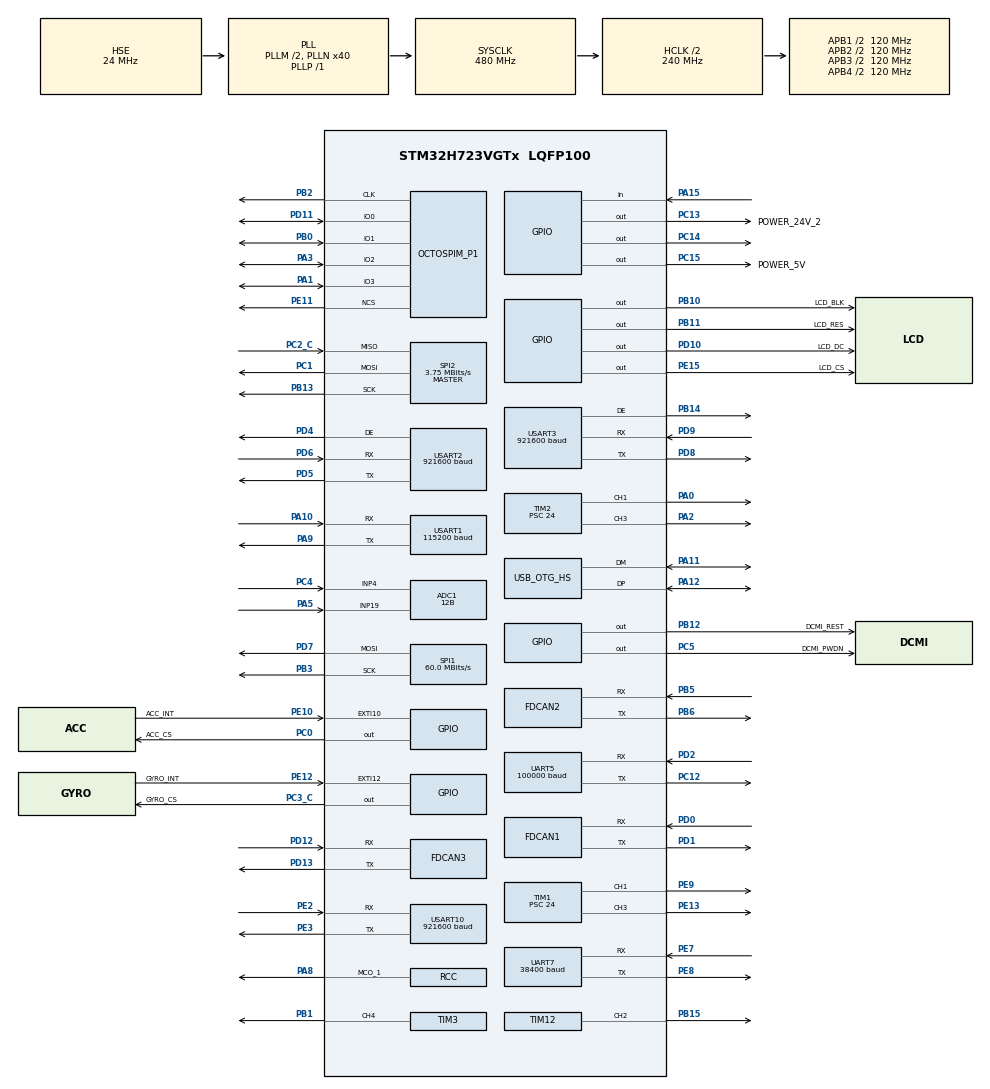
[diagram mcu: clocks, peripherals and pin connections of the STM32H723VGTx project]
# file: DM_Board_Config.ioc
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ADC1.Channel-2\#ChannelRegularConversion=ADC_CHANNEL_4
ADC1.Channel-3\#ChannelRegularConversion=ADC_CHANNEL_19
ADC1.ClockPrescaler=ADC_CLOCK_ASYNC_DIV16
ADC1.ContinuousConvMode=ENABLE
ADC1.ConversionDataManagement=ADC_CONVERSIONDATA_DMA_CIRCULAR
ADC1.NbrOfConversion=2
ADC1.NbrOfConversionFlag=1
ADC1.OffsetNumber-2\#ChannelRegularConversion=ADC_OFFSET_NONE
ADC1.OffsetNumber-3\#ChannelRegularConversion=ADC_OFFSET_NONE
ADC1.OffsetSignedSaturation-2\#ChannelRegularConversion=DISABLE
ADC1.Rank-2\#ChannelRegularConversion=1
ADC1.Rank-3\#ChannelRegularConversion=2
ADC1.Resolution=ADC_RESOLUTION_12B
ADC1.SamplingTime-2\#ChannelRegularConversion=ADC_SAMPLETIME_32CYCLES_5
ADC1.SamplingTime-3\#ChannelRegularConversion=ADC_SAMPLETIME_32CYCLES_5
ADC1.master=1
ADC3.Channel-0\#ChannelRegularConversion=ADC_CHANNEL_TEMPSENSOR
ADC3.ClockPrescaler=ADC_CLOCK_ASYNC_DIV16
ADC3.NbrOfConversionFlag=1
ADC3.OffsetNumber-0\#ChannelRegularConversion=ADC_OFFSET_NONE
ADC3.OffsetSign-0\#ChannelRegularConversion=ADC3_OFFSET_SIGN_NEGATIVE
ADC3.Rank-0\#ChannelRegularConversion=1
ADC3.SamplingTime-0\#ChannelRegularConversion=ADC3_SAMPLETIME_2CYCLES_5
CORTEX_M7.BaseAddress-Cortex_Memory_Protection_Unit_Region0_Settings=0x24000000
CORTEX_M7.CPU_DCache=Enabled
CORTEX_M7.CPU_ICache=Enabled
CORTEX_M7.Enable-Cortex_Memory_Protection_Unit_Region0_Settings=MPU_REGION_ENABLE
CORTEX_M7.IsBufferable-Cortex_Memory_Protection_Unit_Region0_Settings=MPU_ACCESS_BUFFERABLE
CORTEX_M7.IsCacheable-Cortex_Memory_Protection_Unit_Region0_Settings=MPU_ACCESS_CACHEABLE
CORTEX_M7.MPU_Control=__NULL
CORTEX_M7.Size-Cortex_Memory_Protection_Unit_Region0_Settings=MPU_REGION_SIZE_512B
CORTEX_M7.TypeExtField-Cortex_Memory_Protection_Unit_Region0_Settings=MPU_TEX_LEVEL1
Dma.ADC1.4.Direction=DMA_PERIPH_TO_MEMORY
Dma.ADC1.4.EventEnable=DISABLE
Dma.ADC1.4.FIFOMode=DMA_FIFOMODE_DISABLE
Dma.ADC1.4.Instance=DMA1_Stream3
Dma.ADC1.4.MemDataAlignment=DMA_MDATAALIGN_HALFWORD
Dma.ADC1.4.MemInc=DMA_MINC_ENABLE
Dma.ADC1.4.Mode=DMA_CIRCULAR
Dma.ADC1.4.PeriphDataAlignment=DMA_PDATAALIGN_HALFWORD
Dma.ADC1.4.PeriphInc=DMA_PINC_DISABLE
Dma.ADC1.4.Polarity=HAL_DMAMUX_REQ_GEN_RISING
Dma.ADC1.4.Priority=DMA_PRIORITY_LOW
Dma.ADC1.4.RequestNumber=1
Dma.ADC1.4.SignalID=NONE
Dma.ADC1.4.SyncEnable=DISABLE
Dma.ADC1.4.SyncPolarity=HAL_DMAMUX_SYNC_NO_EVENT
Dma.ADC1.4.SyncRequestNumber=1
Dma.ADC1.4.SyncSignalID=NONE
Dma.Request0=USART1_RX
Dma.Request1=USART1_TX
Dma.Request10=USART10_TX
Dma.Request2=UART5_RX
Dma.Request3=SPI1_TX
Dma.Request4=ADC1
Dma.Request5=USART3_RX
Dma.Request6=USART3_TX
Dma.Request7=UART7_RX
Dma.Request8=UART7_TX
Dma.Request9=USART10_RX
Dma.SPI1_TX.3.Direction=DMA_MEMORY_TO_PERIPH
Dma.SPI1_TX.3.EventEnable=DISABLE
Dma.SPI1_TX.3.FIFOMode=DMA_FIFOMODE_DISABLE
Dma.SPI1_TX.3.Instance=DMA2_Stream1
Dma.SPI1_TX.3.MemDataAlignment=DMA_MDATAALIGN_BYTE
Dma.SPI1_TX.3.MemInc=DMA_MINC_ENABLE
Dma.SPI1_TX.3.Mode=DMA_NORMAL
Dma.SPI1_TX.3.PeriphDataAlignment=DMA_PDATAALIGN_BYTE
Dma.SPI1_TX.3.PeriphInc=DMA_PINC_DISABLE
Dma.SPI1_TX.3.Polarity=HAL_DMAMUX_REQ_GEN_RISING
Dma.SPI1_TX.3.Priority=DMA_PRIORITY_LOW
Dma.SPI1_TX.3.RequestNumber=1
Dma.SPI1_TX.3.SignalID=NONE
Dma.SPI1_TX.3.SyncEnable=DISABLE
Dma.SPI1_TX.3.SyncPolarity=HAL_DMAMUX_SYNC_NO_EVENT
Dma.SPI1_TX.3.SyncRequestNumber=1
Dma.SPI1_TX.3.SyncSignalID=NONE
Dma.UART5_RX.2.Direction=DMA_PERIPH_TO_MEMORY
Dma.UART5_RX.2.EventEnable=DISABLE
Dma.UART5_RX.2.FIFOMode=DMA_FIFOMODE_DISABLE
Dma.UART5_RX.2.Instance=DMA1_Stream0
Dma.UART5_RX.2.MemDataAlignment=DMA_MDATAALIGN_BYTE
Dma.UART5_RX.2.MemInc=DMA_MINC_ENABLE
Dma.UART5_RX.2.Mode=DMA_CIRCULAR
Dma.UART5_RX.2.PeriphDataAlignment=DMA_PDATAALIGN_BYTE
Dma.UART5_RX.2.PeriphInc=DMA_PINC_DISABLE
Dma.UART5_RX.2.Polarity=HAL_DMAMUX_REQ_GEN_RISING
Dma.UART5_RX.2.Priority=DMA_PRIORITY_LOW
Dma.UART5_RX.2.RequestNumber=1
Dma.UART5_RX.2.SignalID=NONE
Dma.UART5_RX.2.SyncEnable=DISABLE
Dma.UART5_RX.2.SyncPolarity=HAL_DMAMUX_SYNC_NO_EVENT
Dma.UART5_RX.2.SyncRequestNumber=1
Dma.UART5_RX.2.SyncSignalID=NONE
Dma.UART7_RX.7.Direction=DMA_PERIPH_TO_MEMORY
Dma.UART7_RX.7.EventEnable=DISABLE
Dma.UART7_RX.7.FIFOMode=DMA_FIFOMODE_DISABLE
Dma.UART7_RX.7.Instance=DMA1_Stream6
Dma.UART7_RX.7.MemDataAlignment=DMA_MDATAALIGN_BYTE
Dma.UART7_RX.7.MemInc=DMA_MINC_ENABLE
Dma.UART7_RX.7.Mode=DMA_NORMAL
Dma.UART7_RX.7.PeriphDataAlignment=DMA_PDATAALIGN_BYTE
Dma.UART7_RX.7.PeriphInc=DMA_PINC_DISABLE
Dma.UART7_RX.7.Polarity=HAL_DMAMUX_REQ_GEN_RISING
Dma.UART7_RX.7.Priority=DMA_PRIORITY_LOW
Dma.UART7_RX.7.RequestNumber=1
Dma.UART7_RX.7.SignalID=NONE
Dma.UART7_RX.7.SyncEnable=DISABLE
Dma.UART7_RX.7.SyncPolarity=HAL_DMAMUX_SYNC_NO_EVENT
Dma.UART7_RX.7.SyncRequestNumber=1
Dma.UART7_RX.7.SyncSignalID=NONE
Dma.UART7_TX.8.Direction=DMA_MEMORY_TO_PERIPH
Dma.UART7_TX.8.EventEnable=DISABLE
Dma.UART7_TX.8.FIFOMode=DMA_FIFOMODE_DISABLE
Dma.UART7_TX.8.Instance=DMA1_Stream7
Dma.UART7_TX.8.MemDataAlignment=DMA_MDATAALIGN_BYTE
Dma.UART7_TX.8.MemInc=DMA_MINC_ENABLE
Dma.UART7_TX.8.Mode=DMA_NORMAL
Dma.UART7_TX.8.PeriphDataAlignment=DMA_PDATAALIGN_BYTE
Dma.UART7_TX.8.PeriphInc=DMA_PINC_DISABLE
Dma.UART7_TX.8.Polarity=HAL_DMAMUX_REQ_GEN_RISING
Dma.UART7_TX.8.Priority=DMA_PRIORITY_LOW
Dma.UART7_TX.8.RequestNumber=1
Dma.UART7_TX.8.SignalID=NONE
Dma.UART7_TX.8.SyncEnable=DISABLE
Dma.UART7_TX.8.SyncPolarity=HAL_DMAMUX_SYNC_NO_EVENT
Dma.UART7_TX.8.SyncRequestNumber=1
Dma.UART7_TX.8.SyncSignalID=NONE
Dma.USART10_RX.9.Direction=DMA_PERIPH_TO_MEMORY
Dma.USART10_RX.9.EventEnable=DISABLE
Dma.USART10_RX.9.FIFOMode=DMA_FIFOMODE_DISABLE
Dma.USART10_RX.9.Instance=DMA2_Stream0
Dma.USART10_RX.9.MemDataAlignment=DMA_MDATAALIGN_BYTE
Dma.USART10_RX.9.MemInc=DMA_MINC_ENABLE
Dma.USART10_RX.9.Mode=DMA_NORMAL
Dma.USART10_RX.9.PeriphDataAlignment=DMA_PDATAALIGN_BYTE
Dma.USART10_RX.9.PeriphInc=DMA_PINC_DISABLE
Dma.USART10_RX.9.Polarity=HAL_DMAMUX_REQ_GEN_RISING
Dma.USART10_RX.9.Priority=DMA_PRIORITY_LOW
Dma.USART10_RX.9.RequestNumber=1
Dma.USART10_RX.9.SignalID=NONE
Dma.USART10_RX.9.SyncEnable=DISABLE
Dma.USART10_RX.9.SyncPolarity=HAL_DMAMUX_SYNC_NO_EVENT
Dma.USART10_RX.9.SyncRequestNumber=1
Dma.USART10_RX.9.SyncSignalID=NONE
Dma.USART10_TX.10.Direction=DMA_MEMORY_TO_PERIPH
Dma.USART10_TX.10.EventEnable=DISABLE
Dma.USART10_TX.10.FIFOMode=DMA_FIFOMODE_DISABLE
Dma.USART10_TX.10.Instance=DMA2_Stream2
Dma.USART10_TX.10.MemDataAlignment=DMA_MDATAALIGN_BYTE
Dma.USART10_TX.10.MemInc=DMA_MINC_ENABLE
Dma.USART10_TX.10.Mode=DMA_NORMAL
Dma.USART10_TX.10.PeriphDataAlignment=DMA_PDATAALIGN_BYTE
Dma.USART10_TX.10.PeriphInc=DMA_PINC_DISABLE
Dma.USART10_TX.10.Polarity=HAL_DMAMUX_REQ_GEN_RISING
Dma.USART10_TX.10.Priority=DMA_PRIORITY_LOW
Dma.USART10_TX.10.RequestNumber=1
Dma.USART10_TX.10.SignalID=NONE
Dma.USART10_TX.10.SyncEnable=DISABLE
Dma.USART10_TX.10.SyncPolarity=HAL_DMAMUX_SYNC_NO_EVENT
Dma.USART10_TX.10.SyncRequestNumber=1
Dma.USART10_TX.10.SyncSignalID=NONE
Dma.USART1_RX.0.Direction=DMA_PERIPH_TO_MEMORY
Dma.USART1_RX.0.EventEnable=DISABLE
Dma.USART1_RX.0.FIFOMode=DMA_FIFOMODE_DISABLE
Dma.USART1_RX.0.Instance=DMA1_Stream1
Dma.USART1_RX.0.MemDataAlignment=DMA_MDATAALIGN_BYTE
Dma.USART1_RX.0.MemInc=DMA_MINC_ENABLE
Dma.USART1_RX.0.Mode=DMA_NORMAL
Dma.USART1_RX.0.PeriphDataAlignment=DMA_PDATAALIGN_BYTE
Dma.USART1_RX.0.PeriphInc=DMA_PINC_DISABLE
Dma.USART1_RX.0.Polarity=HAL_DMAMUX_REQ_GEN_RISING
Dma.USART1_RX.0.Priority=DMA_PRIORITY_LOW
Dma.USART1_RX.0.RequestNumber=1
Dma.USART1_RX.0.SignalID=NONE
Dma.USART1_RX.0.SyncEnable=DISABLE
Dma.USART1_RX.0.SyncPolarity=HAL_DMAMUX_SYNC_NO_EVENT
Dma.USART1_RX.0.SyncRequestNumber=1
Dma.USART1_RX.0.SyncSignalID=NONE
Dma.USART1_TX.1.Direction=DMA_MEMORY_TO_PERIPH
Dma.USART1_TX.1.EventEnable=DISABLE
Dma.USART1_TX.1.FIFOMode=DMA_FIFOMODE_DISABLE
Dma.USART1_TX.1.Instance=DMA1_Stream2
Dma.USART1_TX.1.MemDataAlignment=DMA_MDATAALIGN_BYTE
Dma.USART1_TX.1.MemInc=DMA_MINC_ENABLE
Dma.USART1_TX.1.Mode=DMA_NORMAL
Dma.USART1_TX.1.PeriphDataAlignment=DMA_PDATAALIGN_BYTE
Dma.USART1_TX.1.PeriphInc=DMA_PINC_DISABLE
Dma.USART1_TX.1.Polarity=HAL_DMAMUX_REQ_GEN_RISING
Dma.USART1_TX.1.Priority=DMA_PRIORITY_LOW
Dma.USART1_TX.1.RequestNumber=1
Dma.USART1_TX.1.SignalID=NONE
Dma.USART1_TX.1.SyncEnable=DISABLE
Dma.USART1_TX.1.SyncPolarity=HAL_DMAMUX_SYNC_NO_EVENT
Dma.USART1_TX.1.SyncRequestNumber=1
Dma.USART1_TX.1.SyncSignalID=NONE
Dma.USART3_RX.5.Direction=DMA_PERIPH_TO_MEMORY
Dma.USART3_RX.5.EventEnable=DISABLE
Dma.USART3_RX.5.FIFOMode=DMA_FIFOMODE_DISABLE
Dma.USART3_RX.5.Instance=DMA1_Stream4
Dma.USART3_RX.5.MemDataAlignment=DMA_MDATAALIGN_BYTE
Dma.USART3_RX.5.MemInc=DMA_MINC_ENABLE
Dma.USART3_RX.5.Mode=DMA_NORMAL
Dma.USART3_RX.5.PeriphDataAlignment=DMA_PDATAALIGN_BYTE
Dma.USART3_RX.5.PeriphInc=DMA_PINC_DISABLE
Dma.USART3_RX.5.Polarity=HAL_DMAMUX_REQ_GEN_RISING
Dma.USART3_RX.5.Priority=DMA_PRIORITY_LOW
Dma.USART3_RX.5.RequestNumber=1
Dma.USART3_RX.5.SignalID=NONE
Dma.USART3_RX.5.SyncEnable=DISABLE
Dma.USART3_RX.5.SyncPolarity=HAL_DMAMUX_SYNC_NO_EVENT
Dma.USART3_RX.5.SyncRequestNumber=1
Dma.USART3_RX.5.SyncSignalID=NONE
Dma.USART3_TX.6.Direction=DMA_MEMORY_TO_PERIPH
Dma.USART3_TX.6.EventEnable=DISABLE
Dma.USART3_TX.6.FIFOMode=DMA_FIFOMODE_DISABLE
Dma.USART3_TX.6.Instance=DMA1_Stream5
Dma.USART3_TX.6.MemDataAlignment=DMA_MDATAALIGN_BYTE
Dma.USART3_TX.6.MemInc=DMA_MINC_ENABLE
Dma.USART3_TX.6.Mode=DMA_NORMAL
Dma.USART3_TX.6.PeriphDataAlignment=DMA_PDATAALIGN_BYTE
Dma.USART3_TX.6.PeriphInc=DMA_PINC_DISABLE
Dma.USART3_TX.6.Polarity=HAL_DMAMUX_REQ_GEN_RISING
Dma.USART3_TX.6.Priority=DMA_PRIORITY_LOW
Dma.USART3_TX.6.RequestNumber=1
Dma.USART3_TX.6.SignalID=NONE
Dma.USART3_TX.6.SyncEnable=DISABLE
Dma.USART3_TX.6.SyncPolarity=HAL_DMAMUX_SYNC_NO_EVENT
Dma.USART3_TX.6.SyncRequestNumber=1
Dma.USART3_TX.6.SyncSignalID=NONE
FDCAN1.CalculateBaudRateNominal=1000000
FDCAN1.CalculateTimeBitNominal=1000
FDCAN1.CalculateTimeQuantumNominal=200.0
FDCAN1.NominalPrescaler=24
FDCAN1.NominalTimeSeg1=2
FDCAN1.RxFifo0ElmtsNbr=32
FDCAN1.StdFiltersNbr=1
FDCAN1.TxFifoQueueElmtsNbr=32
FDCAN2.CalculateBaudRateNominal=1499999
FDCAN2.CalculateTimeBitNominal=666
FDCAN2.CalculateTimeQuantumNominal=133.33333333333334
FDCAN3.CalculateBaudRateNominal=1000000
FDCAN3.CalculateTimeBitNominal=1000
FDCAN3.CalculateTimeQuantumNominal=200.0
FDCAN3.MessageRAMOffset=0x812
FDCAN3.NominalPrescaler=24
FDCAN3.RxFifo0ElmtsNbr=32
FDCAN3.StdFiltersNbr=1
FDCAN3.TxFifoQueueElmtsNbr=32
FREERTOS.INCLUDE_eTaskGetState=1
FREERTOS.INCLUDE_uxTaskGetStackHighWaterMark=1
FREERTOS.INCLUDE_vTaskDelayUntil=1
FREERTOS.INCLUDE_xQueueGetMutexHolder=1
FREERTOS.INCLUDE_xTaskGetCurrentTaskHandle=1
FREERTOS.INCLUDE_xTimerPendFunctionCall=1
FREERTOS.Tasks01=defaultTask,-3,128,StartDefaultTask,Default,NULL,Dynamic,NULL,NULL;KeyTask,3,128,Key_Task,As weak,NULL,Static,KeyTaskBuffer,KeyTaskControlBlock;LcdTask,0,256,LCD_Task,As weak,NULL,Static,LcdTaskBuffer,LcdTaskControlBlock;ImuTask,2,1024,ImuTask_Entry,As weak,NULL,Static,ImuTaskBuffer,ImuTaskControlBlock;BuzzerTask,-1,128,Buzzer_Task,As weak,NULL,Static,BuzzerTaskBuffer,BuzzerTaskControlBlock;MenuTask,0,512,Menu_Task,As weak,NULL,Static,MenuTaskBuffer,MenuTaskControlBlock
FREERTOS.configENABLE_FPU=1
FREERTOS.configUSE_COUNTING_SEMAPHORES=1
FREERTOS.configUSE_RECURSIVE_MUTEXES=1
FREERTOS.configUSE_TIMERS=1
FREERTOS.configUSE_TRACE_FACILITY=1
Mcu.Family=STM32H7
Mcu.Name=STM32H723VGTx
Mcu.Package=LQFP100
NVIC.DMA1_Stream0_IRQn=true\:5\:0\:false\:false\:true\:false\:false\:true\:true
NVIC.DMA1_Stream1_IRQn=true\:5\:0\:false\:false\:true\:true\:false\:true\:true
NVIC.DMA1_Stream2_IRQn=true\:5\:0\:false\:false\:true\:true\:false\:true\:true
NVIC.DMA1_Stream3_IRQn=true\:5\:0\:false\:false\:true\:true\:false\:true\:true
NVIC.DMA1_Stream4_IRQn=true\:5\:0\:false\:false\:true\:true\:false\:true\:true
NVIC.DMA1_Stream5_IRQn=true\:5\:0\:false\:false\:true\:true\:false\:true\:true
NVIC.DMA1_Stream6_IRQn=true\:5\:0\:false\:false\:true\:true\:false\:true\:true
NVIC.DMA1_Stream7_IRQn=true\:5\:0\:false\:false\:true\:true\:false\:true\:true
NVIC.DMA2_Stream0_IRQn=true\:5\:0\:false\:false\:true\:true\:false\:true\:true
NVIC.DMA2_Stream1_IRQn=true\:5\:0\:false\:false\:true\:false\:false\:true\:true
NVIC.DMA2_Stream2_IRQn=true\:5\:0\:false\:false\:true\:true\:false\:true\:true
NVIC.FDCAN1_IT0_IRQn=true\:5\:0\:false\:false\:true\:true\:true\:true\:true
NVIC.FDCAN1_IT1_IRQn=true\:5\:0\:false\:false\:true\:true\:true\:true\:true
NVIC.FDCAN3_IT0_IRQn=true\:5\:0\:false\:false\:true\:true\:true\:true\:true
NVIC.FDCAN3_IT1_IRQn=true\:5\:0\:false\:false\:true\:true\:true\:true\:true
NVIC.OTG_HS_IRQn=true\:5\:0\:false\:false\:true\:true\:false\:true\:true
NVIC.PriorityGroup=NVIC_PRIORITYGROUP_4
NVIC.SPI1_IRQn=true\:5\:0\:false\:false\:true\:true\:false\:true\:true
NVIC.TIM23_IRQn=true\:15\:0\:false\:false\:true\:false\:false\:true\:true
NVIC.TimeBase=TIM23_IRQn
NVIC.TimeBaseIP=TIM23
NVIC.UART5_IRQn=true\:5\:0\:false\:false\:true\:true\:true\:true\:true
NVIC.UART7_IRQn=true\:5\:0\:true\:false\:true\:false\:true\:true\:true
NVIC.USART10_IRQn=true\:5\:0\:true\:false\:true\:false\:true\:true\:true
NVIC.USART1_IRQn=true\:5\:0\:true\:false\:true\:false\:true\:true\:true
NVIC.USART2_IRQn=true\:5\:0\:true\:false\:true\:false\:true\:true\:true
NVIC.USART3_IRQn=true\:5\:0\:true\:false\:true\:false\:true\:true\:true
OCTOSPI2.ClockMode=HAL_OSPI_CLOCK_MODE_3
OCTOSPI2.ClockPrescaler=3
OCTOSPI2.DeviceSize=23
OCTOSPI2.DeviceType=SPI_DEVICE_FLASH
OCTOSPI2.FifoThreshold=8
OCTOSPI2.SampleShifting=HAL_OSPI_SAMPLE_SHIFTING_HALFCYCLE
PA0.Signal=S_TIM2_CH1_ETR
PA1.Mode=OCTOSPI2_IOL_Port1L
PA1.Signal=OCTOSPIM_P1_IO3
PA10.Mode=Asynchronous
PA10.Signal=USART1_RX
PA11.Mode=Device_Only_FS
PA11.Signal=USB_OTG_HS_DM
PA12.Mode=Device_Only_FS
PA12.Signal=USB_OTG_HS_DP
PA13(JTMS/SWDIO).Mode=Serial_Wire
PA13(JTMS/SWDIO).Signal=DEBUG_JTMS-SWDIO
PA14(JTCK/SWCLK).Mode=Serial_Wire
PA14(JTCK/SWCLK).Signal=DEBUG_JTCK-SWCLK
PA15(JTDI).Signal=GPIO_Input
PA2.Signal=S_TIM2_CH3
PA3.Mode=OCTOSPI2_IOL_Port1L
PA3.Signal=OCTOSPIM_P1_IO2
PA5.Signal=ADCx_INP19
PA8.Mode=Clock-out-1
PA8.Signal=RCC_MCO_1
PA9.Mode=Asynchronous
PA9.Signal=USART1_TX
PB0.Mode=OCTOSPI2_IOL_Port1L
PB0.Signal=OCTOSPIM_P1_IO1
PB1.Signal=S_TIM3_CH4
PB10.GPIO_Label=LCD_BLK
PB10.GPIO_Speed=GPIO_SPEED_FREQ_VERY_HIGH
PB10.Signal=GPIO_Output
PB11.GPIO_Label=LCD_RES
PB11.GPIO_Speed=GPIO_SPEED_FREQ_VERY_HIGH
PB11.Signal=GPIO_Output
PB12.GPIO_Label=DCMI_REST
PB12.GPIO_PuPd=GPIO_PULLUP
PB12.GPIO_Speed=GPIO_SPEED_FREQ_VERY_HIGH
PB12.PinState=GPIO_PIN_SET
PB12.Signal=GPIO_Output
PB13.GPIO_Speed=GPIO_SPEED_FREQ_VERY_HIGH
PB13.Mode=Full_Duplex_Master
PB13.Signal=SPI2_SCK
PB14.Mode=Hardware Flow Control (RS485)
PB14.Signal=USART3_DE
PB15.Signal=S_TIM12_CH2
PB2.Mode=O2_P1_CLK
PB2.Signal=OCTOSPIM_P1_CLK
PB3(JTDO/TRACESWO).GPIO_Speed=GPIO_SPEED_FREQ_VERY_HIGH
PB3(JTDO/TRACESWO).Mode=TX_Only_Simplex_Unidirect_Master
PB3(JTDO/TRACESWO).Signal=SPI1_SCK
PB5.Mode=FDCAN_Activate
PB5.Signal=FDCAN2_RX
PB6.Mode=FDCAN_Activate
PB6.Signal=FDCAN2_TX
PC0.GPIO_Label=ACC_CS
PC0.GPIO_Speed=GPIO_SPEED_FREQ_VERY_HIGH
PC0.PinState=GPIO_PIN_SET
PC0.Signal=GPIO_Output
PC1.GPIO_Speed=GPIO_SPEED_FREQ_VERY_HIGH
PC1.Mode=Full_Duplex_Master
PC1.Signal=SPI2_MOSI
PC12.GPIO_Speed=GPIO_SPEED_FREQ_LOW
PC12.Mode=Asynchronous
PC12.Signal=UART5_TX
PC13.GPIO_Label=POWER_24V_2
PC13.PinState=GPIO_PIN_SET
PC13.Signal=GPIO_Output
PC14-OSC32_IN.Signal=GPIO_Output
PC15-OSC32_OUT.GPIO_Label=POWER_5V
PC15-OSC32_OUT.PinState=GPIO_PIN_SET
PC15-OSC32_OUT.Signal=GPIO_Output
PC2_C.GPIO_Speed=GPIO_SPEED_FREQ_VERY_HIGH
PC2_C.Mode=Full_Duplex_Master
PC2_C.Signal=SPI2_MISO
PC3_C.GPIO_Label=GYRO_CS
PC3_C.GPIO_Speed=GPIO_SPEED_FREQ_VERY_HIGH
PC3_C.PinState=GPIO_PIN_SET
PC3_C.Signal=GPIO_Output
PC4.Signal=ADCx_INP4
PC5.GPIO_Label=DCMI_PWDN
PC5.GPIO_PuPd=GPIO_NOPULL
PC5.GPIO_Speed=GPIO_SPEED_FREQ_VERY_HIGH
PC5.PinState=GPIO_PIN_SET
PC5.Signal=GPIO_Output
PD0.Mode=FDCAN_Activate
PD0.Signal=FDCAN1_RX
PD1.Mode=FDCAN_Activate
PD1.Signal=FDCAN1_TX
PD10.GPIO_Label=LCD_DC
PD10.GPIO_Speed=GPIO_SPEED_FREQ_VERY_HIGH
PD10.Signal=GPIO_Output
PD11.Mode=OCTOSPI2_IOL_Port1L
PD11.Signal=OCTOSPIM_P1_IO0
PD12.Mode=FDCAN_Activate
PD12.Signal=FDCAN3_RX
PD13.Mode=FDCAN_Activate
PD13.Signal=FDCAN3_TX
PD2.GPIO_Speed=GPIO_SPEED_FREQ_LOW
PD2.Mode=Asynchronous
PD2.Signal=UART5_RX
PD4.Mode=Hardware Flow Control (RS485)
PD4.Signal=USART2_DE
PD5.Mode=Asynchronous
PD5.Signal=USART2_TX
PD6.Mode=Asynchronous
PD6.Signal=USART2_RX
PD7.GPIO_Speed=GPIO_SPEED_FREQ_VERY_HIGH
PD7.Mode=TX_Only_Simplex_Unidirect_Master
PD7.Signal=SPI1_MOSI
PD8.Mode=Asynchronous
PD8.Signal=USART3_TX
PD9.Mode=Asynchronous
PD9.Signal=USART3_RX
PE10.GPIO_Label=ACC_INT
PE10.Signal=GPXTI10
PE11.Mode=OCTOSPI2_Port1_NCS
PE11.Signal=OCTOSPIM_P1_NCS
PE12.GPIO_Label=GYRO_INT
PE12.Signal=GPXTI12
PE13.Signal=S_TIM1_CH3
PE15.GPIO_Label=LCD_CS
PE15.GPIO_Speed=GPIO_SPEED_FREQ_VERY_HIGH
PE15.Signal=GPIO_Output
PE2.Mode=Asynchronous
PE2.Signal=USART10_RX
PE3.Mode=Asynchronous
PE3.Signal=USART10_TX
PE7.Mode=Asynchronous
PE7.Signal=UART7_RX
PE8.Mode=Asynchronous
PE8.Signal=UART7_TX
PE9.Signal=S_TIM1_CH1
PH0-OSC_IN.Mode=HSE-External-Oscillator
PH0-OSC_IN.Signal=RCC_OSC_IN
PH1-OSC_OUT.Mode=HSE-External-Oscillator
PH1-OSC_OUT.Signal=RCC_OSC_OUT
ProjectManager.HeapSize=0x1000
ProjectManager.StackSize=0x2000
ProjectManager.TargetToolchain=STM32CubeIDE
RCC.ADCFreq_Value=96000000
RCC.APB1Freq_Value=120000000
RCC.APB2Freq_Value=120000000
RCC.APB3Freq_Value=120000000
RCC.APB4Freq_Value=120000000
RCC.CortexFreq_Value=480000000
RCC.D1PPRE=RCC_APB3_DIV2
RCC.D2PPRE1=RCC_APB1_DIV2
RCC.D2PPRE2=RCC_APB2_DIV2
RCC.D3PPRE=RCC_APB4_DIV2
RCC.DIVM1=2
RCC.DIVM2=2
RCC.DIVN1=40
RCC.DIVN2=16
RCC.DIVP1=1
RCC.DIVQ1=4
RCC.HCLKFreq_Value=240000000
RCC.HPRE=RCC_HCLK_DIV2
RCC.HSE_VALUE=24000000
RCC.PLL2FRACN=0
RCC.PLL2_VCI_Range-AdvancedSettings=RCC_PLL2VCIRANGE_0
RCC.PLL2_VCO_SEL-AdvancedSettings=RCC_PLL2VCOMEDIUM
RCC.PLL3FRACN=0
RCC.PLL3_VCO_SEL-AdvancedSettings=RCC_PLL3VCOMEDIUM
RCC.PLLFRACN=0
RCC.PLLSourceVirtual=RCC_PLLSOURCE_HSE
RCC.SPI6CLockSelection=RCC_SPI6CLKSOURCE_HSE
RCC.SYSCLKFreq_VALUE=480000000
RCC.SYSCLKSource=RCC_SYSCLKSOURCE_PLLCLK
RCC.USBCLockSelection=RCC_USBCLKSOURCE_HSI48
RCC.USBFreq_Value=48000000
SH.ADCx_INP19.0=ADC1_INP19,IN19-Single-Ended
SH.ADCx_INP4.0=ADC1_INP4,IN4-Single-Ended
SH.S_TIM12_CH2.0=TIM12_CH2,PWM Generation2 CH2
SH.S_TIM1_CH1.0=TIM1_CH1,PWM Generation1 CH1
SH.S_TIM1_CH3.0=TIM1_CH3,PWM Generation3 CH3
SH.S_TIM2_CH1_ETR.0=TIM2_CH1,PWM Generation1 CH1
SH.S_TIM2_CH3.0=TIM2_CH3,PWM Generation3 CH3
SH.S_TIM3_CH4.0=TIM3_CH4,PWM Generation4 CH4
SPI1.BaudRatePrescaler=SPI_BAUDRATEPRESCALER_2
SPI1.CLKPolarity=SPI_POLARITY_HIGH
SPI1.CalculateBaudRate=60.0 MBits/s
SPI1.DataSize=SPI_DATASIZE_8BIT
SPI1.Direction=SPI_DIRECTION_2LINES_TXONLY
SPI1.Mode=SPI_MODE_MASTER
SPI1.VirtualType=VM_MASTER
SPI2.BaudRatePrescaler=SPI_BAUDRATEPRESCALER_32
SPI2.CLKPhase=SPI_PHASE_2EDGE
SPI2.CLKPolarity=SPI_POLARITY_HIGH
SPI2.CalculateBaudRate=3.75 MBits/s
SPI2.DataSize=SPI_DATASIZE_8BIT
SPI2.Direction=SPI_DIRECTION_2LINES
SPI2.Mode=SPI_MODE_MASTER
SPI2.VirtualType=VM_MASTER
TIM1.Channel-PWM\ Generation1\ CH1=TIM_CHANNEL_1
TIM1.Channel-PWM\ Generation3\ CH3=TIM_CHANNEL_3
TIM1.Period=10000
TIM1.Prescaler=24
TIM1.Pulse-PWM\ Generation1\ CH1=5000
TIM1.Pulse-PWM\ Generation3\ CH3=5000
TIM12.Channel-PWM\ Generation2\ CH2=TIM_CHANNEL_2
TIM12.Period=1999
TIM12.Prescaler=23
TIM2.Channel-PWM\ Generation1\ CH1=TIM_CHANNEL_1
TIM2.Channel-PWM\ Generation3\ CH3=TIM_CHANNEL_3
TIM2.Period=10000
TIM2.Prescaler=24
TIM2.Pulse-PWM\ Generation1\ CH1=5000
TIM2.Pulse-PWM\ Generation3\ CH3=5000
TIM3.AutoReloadPreload=TIM_AUTORELOAD_PRELOAD_ENABLE
TIM3.Channel-PWM\ Generation4\ CH4=TIM_CHANNEL_4
TIM3.Period=10000-1
TIM3.Prescaler=24-1
UART5.BaudRate=100000
UART5.Parity=PARITY_EVEN
UART5.StopBits=UART_STOPBITS_2
UART5.WordLength=WORDLENGTH_9B
UART7.BaudRate=38400
USART1.BaudRate=115200
USART1.VirtualMode-Asynchronous=VM_ASYNC
USART10.BaudRate=921600
USART10.VirtualMode=VM_ASYNC
USART2.BaudRate=921600
USART2.VirtualMode-Asynchronous=VM_ASYNC
USART2.VirtualMode-Hardware\ Flow\ Control\ (RS485)=VM_ASYNC
USART3.BaudRate=921600
USART3.VirtualMode-Asynchronous=VM_ASYNC
USART3.VirtualMode-Hardware\ Flow\ Control\ (RS485)=VM_ASYNC
USB_DEVICE.CLASS_NAME_HS=CDC
USB_DEVICE.VirtualMode=Cdc
USB_DEVICE.VirtualModeHS=Cdc_HS
USB_OTG_HS.VirtualMode-Device_Only_FS=Device_Only_FS
VP_ADC3_TempSens_Input.Mode=IN-TempSens
VP_FREERTOS_VS_CMSIS_V1.Mode=CMSIS_V1
VP_OCTOSPI2_VS_quad.Mode=quad_mode
VP_SYS_VS_tim23.Mode=TIM23
VP_TIM12_VS_ClockSourceINT.Mode=Internal
VP_USB_DEVICE_VS_USB_DEVICE_CDC_HS.Mode=CDC_HS
board=custom

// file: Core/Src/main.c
/* USER CODE BEGIN Header */
/**
  ******************************************************************************
  * @file           : main.c
  * @brief          : Main program body
  ******************************************************************************
  * @attention
  *
  * Copyright (c) 2024 STMicroelectronics.
  * All rights reserved.
  *
  * This software is licensed under terms that can be found in the LICENSE file
  * in the root directory of this software component.
  * If no LICENSE file comes with this software, it is provided AS-IS.
  *
  ******************************************************************************
  */
/* USER CODE END Header */
#include "main.h"
#include "cmsis_os.h"
#include "adc.h"
#include "dma.h"
#include "fdcan.h"
#include "octospi.h"
#include "spi.h"
#include "tim.h"
#include "usart.h"
#include "usb_device.h"
#include "gpio.h"

/* USER CODE BEGIN Includes */

#include "bsp_dwt.h"
#include "bsp_usart.h"
#include "remote_control.h"
#include "bsp_can.h"
#include "key_driver.h"
#include "filter.h"
//#include "lcd.h"

/* USER CODE END Includes */

/* USER CODE BEGIN PD */
const RC_ctrl_t *RC;
/* USER CODE END PD */

/* USER CODE BEGIN PM */
extern uint16_t adc_val[2];
/* USER CODE END PM */

void SystemClock_Config(void);
void PeriphCommonClock_Config(void);
void MX_FREERTOS_Init(void);

/* USER CODE BEGIN 0 */
void MPU_Config(void)
{
    MPU_Region_InitTypeDef MPU_InitStruct;

    HAL_MPU_Disable(); // 设置之前先禁止MPU

    MPU_InitStruct.Enable 				= MPU_REGION_ENABLE;
    MPU_InitStruct.BaseAddress 			= 0x24000000;
    MPU_InitStruct.Size 					= MPU_REGION_SIZE_512KB;
    MPU_InitStruct.AccessPermission 	= MPU_REGION_FULL_ACCESS;
    MPU_InitStruct.IsBufferable 		= MPU_ACCESS_BUFFERABLE;
    MPU_InitStruct.IsCacheable 			= MPU_ACCESS_CACHEABLE;
    MPU_InitStruct.IsShareable 			= MPU_ACCESS_SHAREABLE;
    MPU_InitStruct.Number 				= MPU_REGION_NUMBER0;
    MPU_InitStruct.TypeExtField 		= MPU_TEX_LEVEL0;
    MPU_InitStruct.SubRegionDisable 	= 0x00;
    MPU_InitStruct.DisableExec 			= MPU_INSTRUCTION_ACCESS_ENABLE;

    HAL_MPU_ConfigRegion(&MPU_InitStruct);

    HAL_MPU_Enable(MPU_PRIVILEGED_DEFAULT);	// 使能MCU

}

/* USER CODE END 0 */

int main(void)
{
  /* USER CODE BEGIN 1 */
//    MPU_Config();
//  /* USER CODE END 1 */
///* Enable the CPU Cache */
//
//  /* Enable I-Cache---------------------------------------------------------*/
//  SCB_EnableICache();
//
//  /* Enable D-Cache---------------------------------------------------------*/
//  SCB_EnableDCache();

  /* MCU Configuration--------------------------------------------------------*/

  /* Reset of all peripherals, Initializes the Flash interface and the Systick. */
  HAL_Init();

  /* Configure the system clock */
  SystemClock_Config();

/* Configure the peripherals common clocks */
  PeriphCommonClock_Config();

  /* Initialize all configured peripherals */
  MX_GPIO_Init();
  MX_DMA_Init();
  MX_ADC1_Init();
  MX_SPI2_Init();
  MX_TIM3_Init();
  MX_USART1_UART_Init();
  MX_USART2_UART_Init();
  MX_USART3_UART_Init();
  MX_UART7_Init();
  MX_USART10_UART_Init();
  MX_FDCAN1_Init();
  MX_FDCAN2_Init();
  MX_FDCAN3_Init();
  MX_TIM1_Init();
  MX_TIM2_Init();
  MX_ADC3_Init();
  MX_TIM12_Init();
  MX_UART5_Init();
  MX_OCTOSPI2_Init();
  MX_SPI1_Init();
  /* USER CODE BEGIN 2 */

    usart_init();
    DWT_Init(480);
//    HAL_ADCEx_Calibration_Start(&hadc3,ADC_CALIB_OFFSET,ADC_SINGLE_ENDED);
//    HAL_ADCEx_Calibration_Start(&hadc1, ADC_CALIB_OFFSET, ADC_SINGLE_ENDED);
//    HAL_ADC_Start_DMA(&hadc1, (uint32_t *)adc_val,2);
//    RC=get_remote_control_point();
    can_bsp_init();
    initializeFilter(&motor_angle_acc,0.1f);
    initializeFilter(&motor_velocity,0.7f);

//    key_driver_init();
//
    HAL_TIM_PWM_Start(&htim1,TIM_CHANNEL_3);

  /* USER CODE END 2 */

  /* Call init function for freertos objects (in freertos.c) */
  MX_FREERTOS_Init();

  /* Start scheduler */
  osKernelStart();

  /* We should never get here as control is now taken by the scheduler */
  /* Infinite loop */
  while (1)
  {

  }
}

void SystemClock_Config(void)
{
  RCC_OscInitTypeDef RCC_OscInitStruct = {0};
  RCC_ClkInitTypeDef RCC_ClkInitStruct = {0};

  /** Supply configuration update enable
  */
  HAL_PWREx_ConfigSupply(PWR_LDO_SUPPLY);

  /** Configure the main internal regulator output voltage
  */
  __HAL_PWR_VOLTAGESCALING_CONFIG(PWR_REGULATOR_VOLTAGE_SCALE0);

  while(!__HAL_PWR_GET_FLAG(PWR_FLAG_VOSRDY)) {}

  /** Initializes the RCC Oscillators according to the specified parameters
  * in the RCC_OscInitTypeDef structure.
  */
  RCC_OscInitStruct.OscillatorType = RCC_OSCILLATORTYPE_HSI48|RCC_OSCILLATORTYPE_HSI
                              |RCC_OSCILLATORTYPE_HSE;
  RCC_OscInitStruct.HSEState = RCC_HSE_ON;
  RCC_OscInitStruct.HSIState = RCC_HSI_DIV1;
  RCC_OscInitStruct.HSICalibrationValue = 64;
  RCC_OscInitStruct.HSI48State = RCC_HSI48_ON;
  RCC_OscInitStruct.PLL.PLLState = RCC_PLL_ON;
  RCC_OscInitStruct.PLL.PLLSource = RCC_PLLSOURCE_HSE;
  RCC_OscInitStruct.PLL.PLLM = 2;
  RCC_OscInitStruct.PLL.PLLN = 40;
  RCC_OscInitStruct.PLL.PLLP = 1;
  RCC_OscInitStruct.PLL.PLLQ = 4;
  RCC_OscInitStruct.PLL.PLLR = 2;
  RCC_OscInitStruct.PLL.PLLRGE = RCC_PLL1VCIRANGE_3;
  RCC_OscInitStruct.PLL.PLLVCOSEL = RCC_PLL1VCOWIDE;
  RCC_OscInitStruct.PLL.PLLFRACN = 0;
  if (HAL_RCC_OscConfig(&RCC_OscInitStruct) != HAL_OK)
  {
    Error_Handler();
  }

  /** Initializes the CPU, AHB and APB buses clocks
  */
  RCC_ClkInitStruct.ClockType = RCC_CLOCKTYPE_HCLK|RCC_CLOCKTYPE_SYSCLK
                              |RCC_CLOCKTYPE_PCLK1|RCC_CLOCKTYPE_PCLK2
                              |RCC_CLOCKTYPE_D3PCLK1|RCC_CLOCKTYPE_D1PCLK1;
  RCC_ClkInitStruct.SYSCLKSource = RCC_SYSCLKSOURCE_PLLCLK;
  RCC_ClkInitStruct.SYSCLKDivider = RCC_SYSCLK_DIV1;
  RCC_ClkInitStruct.AHBCLKDivider = RCC_HCLK_DIV2;
  RCC_ClkInitStruct.APB3CLKDivider = RCC_APB3_DIV2;
  RCC_ClkInitStruct.APB1CLKDivider = RCC_APB1_DIV2;
  RCC_ClkInitStruct.APB2CLKDivider = RCC_APB2_DIV2;
  RCC_ClkInitStruct.APB4CLKDivider = RCC_APB4_DIV2;

  if (HAL_RCC_ClockConfig(&RCC_ClkInitStruct, FLASH_LATENCY_3) != HAL_OK)
  {
    Error_Handler();
  }
  HAL_RCC_MCOConfig(RCC_MCO1, RCC_MCO1SOURCE_HSI, RCC_MCODIV_1);
}

void PeriphCommonClock_Config(void)
{
  RCC_PeriphCLKInitTypeDef PeriphClkInitStruct = {0};

  /** Initializes the peripherals clock
  */
  PeriphClkInitStruct.PeriphClockSelection = RCC_PERIPHCLK_ADC;
  PeriphClkInitStruct.PLL2.PLL2M = 2;
  PeriphClkInitStruct.PLL2.PLL2N = 16;
  PeriphClkInitStruct.PLL2.PLL2P = 2;
  PeriphClkInitStruct.PLL2.PLL2Q = 2;
  PeriphClkInitStruct.PLL2.PLL2R = 2;
  PeriphClkInitStruct.PLL2.PLL2RGE = RCC_PLL2VCIRANGE_3;
  PeriphClkInitStruct.PLL2.PLL2VCOSEL = RCC_PLL2VCOWIDE;
  PeriphClkInitStruct.PLL2.PLL2FRACN = 0;
  PeriphClkInitStruct.AdcClockSelection = RCC_ADCCLKSOURCE_PLL2;
  if (HAL_RCCEx_PeriphCLKConfig(&PeriphClkInitStruct) != HAL_OK)
  {
    Error_Handler();
  }
}

void HAL_TIM_PeriodElapsedCallback(TIM_HandleTypeDef *htim)
{
  if (htim->Instance == TIM23) {
    HAL_IncTick();
  }
}

void Error_Handler(void)
{
  __disable_irq();
  while (1)
  {
  }
}

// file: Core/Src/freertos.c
/* USER CODE BEGIN Header */
/**
  ******************************************************************************
  * File Name          : freertos.c
  * Description        : Code for freertos applications
  ******************************************************************************
  * @attention
  *
  * Copyright (c) 2024 STMicroelectronics.
  * All rights reserved.
  *
  * This software is licensed under terms that can be found in the LICENSE file
  * in the root directory of this software component.
  * If no LICENSE file comes with this software, it is provided AS-IS.
  *
  ******************************************************************************
  */
/* USER CODE END Header */

#include "FreeRTOS.h"
#include "task.h"
#include "main.h"
#include "cmsis_os.h"

/* USER CODE BEGIN Includes */
#include "imu_temp_ctrl.h"
//#include "Algorithm.h"
#include "Chassis_Task.h"
#include "LCD_Task.h"
#include "Key_Task.h"
#include "Direct_Drive_Tech.h"
#include "vofa.h"
#include "bsp_can.h"
#include "filter.h"
#include "Detect_Task.h"
/* USER CODE END Includes */

osThreadId defaultTaskHandle;
osThreadId KeyTaskHandle;
uint32_t KeyTaskBuffer[ 128 ];
osStaticThreadDef_t KeyTaskControlBlock;
osThreadId LcdTaskHandle;
uint32_t LcdTaskBuffer[ 256 ];
osStaticThreadDef_t LcdTaskControlBlock;
osThreadId ImuTaskHandle;
uint32_t ImuTaskBuffer[ 1024 ];
osStaticThreadDef_t ImuTaskControlBlock;
osThreadId BuzzerTaskHandle;
uint32_t BuzzerTaskBuffer[ 128 ];
osStaticThreadDef_t BuzzerTaskControlBlock;
osThreadId MenuTaskHandle;
uint32_t MenuTaskBuffer[ 512 ];
osStaticThreadDef_t MenuTaskControlBlock;

/* USER CODE BEGIN FunctionPrototypes */
osThreadId ChassisTaskHandle;
osThreadId DetectTaskHandle;
/* USER CODE END FunctionPrototypes */

void StartDefaultTask(void const * argument);
void Key_Task(void const * argument);
void LCD_Task(void const * argument);
void ImuTask_Entry(void const * argument);
void Buzzer_Task(void const * argument);
void Menu_Task(void const * argument);

extern void MX_USB_DEVICE_Init(void);
void MX_FREERTOS_Init(void); /* (MISRA C 2004 rule 8.1) */

/* GetIdleTaskMemory prototype (linked to static allocation support) */
void vApplicationGetIdleTaskMemory( StaticTask_t **ppxIdleTaskTCBBuffer, StackType_t **ppxIdleTaskStackBuffer, uint32_t *pulIdleTaskStackSize );

/* GetTimerTaskMemory prototype (linked to static allocation support) */
void vApplicationGetTimerTaskMemory( StaticTask_t **ppxTimerTaskTCBBuffer, StackType_t **ppxTimerTaskStackBuffer, uint32_t *pulTimerTaskStackSize );

/* USER CODE BEGIN GET_IDLE_TASK_MEMORY */
static StaticTask_t xIdleTaskTCBBuffer;
static StackType_t xIdleStack[configMINIMAL_STACK_SIZE];

void vApplicationGetIdleTaskMemory( StaticTask_t **ppxIdleTaskTCBBuffer, StackType_t **ppxIdleTaskStackBuffer, uint32_t *pulIdleTaskStackSize )
{
  *ppxIdleTaskTCBBuffer = &xIdleTaskTCBBuffer;
  *ppxIdleTaskStackBuffer = &xIdleStack[0];
  *pulIdleTaskStackSize = configMINIMAL_STACK_SIZE;
  /* place for user code */
}
/* USER CODE END GET_IDLE_TASK_MEMORY */

/* USER CODE BEGIN GET_TIMER_TASK_MEMORY */
static StaticTask_t xTimerTaskTCBBuffer;
static StackType_t xTimerStack[configTIMER_TASK_STACK_DEPTH];

void vApplicationGetTimerTaskMemory( StaticTask_t **ppxTimerTaskTCBBuffer, StackType_t **ppxTimerTaskStackBuffer, uint32_t *pulTimerTaskStackSize )
{
  *ppxTimerTaskTCBBuffer = &xTimerTaskTCBBuffer;
  *ppxTimerTaskStackBuffer = &xTimerStack[0];
  *pulTimerTaskStackSize = configTIMER_TASK_STACK_DEPTH;
  /* place for user code */
}
/* USER CODE END GET_TIMER_TASK_MEMORY */

void MX_FREERTOS_Init(void) {

  /* Create the thread(s) */
  /* definition and creation of defaultTask */
  osThreadDef(defaultTask, StartDefaultTask, osPriorityIdle, 0, 128);
  defaultTaskHandle = osThreadCreate(osThread(defaultTask), NULL);

  /* definition and creation of KeyTask */
  osThreadStaticDef(KeyTask, Key_Task, osPriorityRealtime, 0, 128, KeyTaskBuffer, &KeyTaskControlBlock);
  KeyTaskHandle = osThreadCreate(osThread(KeyTask), NULL);

  /* definition and creation of LcdTask */
//  osThreadStaticDef(LcdTask, LCD_Task, osPriorityNormal, 0, 256, LcdTaskBuffer, &LcdTaskControlBlock);
//  LcdTaskHandle = osThreadCreate(osThread(LcdTask), NULL);

  /* definition and creation of ImuTask */
  osThreadStaticDef(ImuTask, ImuTask_Entry, osPriorityHigh, 0, 1024, ImuTaskBuffer, &ImuTaskControlBlock);
  ImuTaskHandle = osThreadCreate(osThread(ImuTask), NULL);

  /* definition and creation of BuzzerTask */
  osThreadStaticDef(BuzzerTask, Buzzer_Task, osPriorityBelowNormal, 0, 128, BuzzerTaskBuffer, &BuzzerTaskControlBlock);
  BuzzerTaskHandle = osThreadCreate(osThread(BuzzerTask), NULL);

  /* definition and creation of MenuTask */
  osThreadStaticDef(MenuTask, Menu_Task, osPriorityNormal, 0, 512, MenuTaskBuffer, &MenuTaskControlBlock);
  MenuTaskHandle = osThreadCreate(osThread(MenuTask), NULL);

  /* USER CODE BEGIN RTOS_THREADS */
  /* add threads, ... */

    osThreadDef(chassisTask, Chassis_Task, osPriorityNormal, 0, 256);
    ChassisTaskHandle = osThreadCreate(osThread(chassisTask), NULL);

//    osThreadDef(detectTask, Detect_Task, osPriorityNormal, 0, 128);
//    DetectTaskHandle = osThreadCreate(osThread(detectTask), NULL);

  /* USER CODE END RTOS_THREADS */

}

void StartDefaultTask(void const * argument)
{
  /* init code for USB_DEVICE */
  MX_USB_DEVICE_Init();
  /* USER CODE BEGIN StartDefaultTask */
  /* Infinite loop */
  for(;;)
  {

      acc_temp=(velocity-last_velocity)*100;
      angle_acc=filterValue(&motor_angle_acc,acc_temp);
      last_velocity=velocity;

        vofa_demo();

        osDelay(10);

  }
  /* USER CODE END StartDefaultTask */
}

__weak void Key_Task(void const * argument)
{
  for(;;)
  {
    osDelay(1);
  }
}

__weak void LCD_Task(void const * argument)
{
  for(;;)
  {
    osDelay(1);
  }
}

__weak void ImuTask_Entry(void const * argument)
{
  /* USER CODE BEGIN ImuTask_Entry */
  /* Infinite loop */
    INS_Init();
    /* Infinite loop */
    for (;;)
    {
        INS_Task();
        osDelay(1);
    }
  /* USER CODE END ImuTask_Entry */
}

__weak void Buzzer_Task(void const * argument)
{
  for(;;)
  {
    osDelay(1);
  }
}

__weak void Menu_Task(void const * argument)
{
  /* USER CODE BEGIN Menu_Task */
    static portTickType xLastWakeTime;

    xLastWakeTime = xTaskGetTickCount();
    /* Infinite loop */
    for( ;; )
    {

//        cnt_tim_test=0;
//        vTaskDelayUntil(&xLastWakeTime,1000);
        osDelay(10);
    }
  /* USER CODE END Menu_Task */
}
